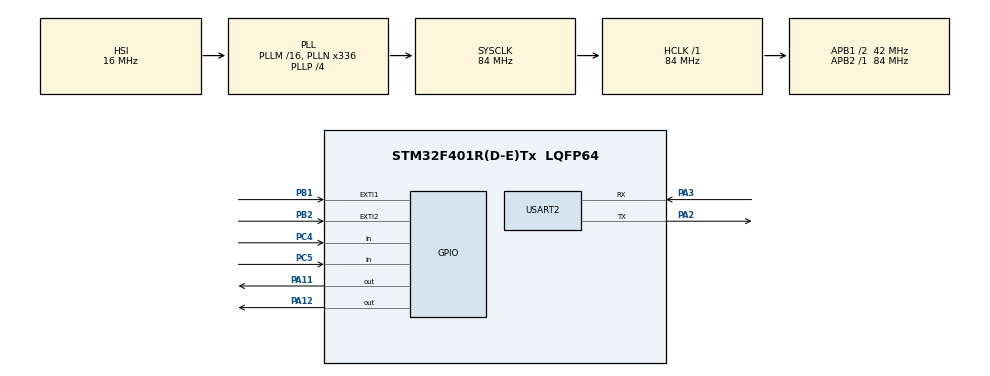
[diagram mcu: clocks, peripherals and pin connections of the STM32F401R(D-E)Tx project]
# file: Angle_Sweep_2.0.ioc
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Mcu.Family=STM32F4
Mcu.Name=STM32F401R(D-E)Tx
Mcu.Package=LQFP64
NVIC.EXTI1_IRQn=true\:0\:0\:false\:false\:true\:true\:true\:true
NVIC.EXTI2_IRQn=true\:0\:0\:false\:false\:true\:true\:true\:true
NVIC.PriorityGroup=NVIC_PRIORITYGROUP_0
NVIC.USART2_IRQn=true\:0\:0\:false\:false\:true\:true\:true\:true
PA11.Signal=GPIO_Output
PA12.Signal=GPIO_Output
PA2.Mode=Asynchronous
PA2.Signal=USART2_TX
PA3.Mode=Asynchronous
PA3.Signal=USART2_RX
PB1.GPIO_PuPd=GPIO_PULLUP
PB1.Signal=GPXTI1
PB2.GPIO_PuPd=GPIO_PULLUP
PB2.Signal=GPXTI2
PC4.GPIO_PuPd=GPIO_PULLDOWN
PC4.Signal=GPIO_Input
PC5.GPIO_PuPd=GPIO_PULLDOWN
PC5.Signal=GPIO_Input
ProjectManager.HeapSize=0x200
ProjectManager.StackSize=0x400
ProjectManager.TargetToolchain=STM32CubeIDE
RCC.48MHZClocksFreq_Value=48000000
RCC.AHBFreq_Value=84000000
RCC.APB1CLKDivider=RCC_HCLK_DIV2
RCC.APB1Freq_Value=42000000
RCC.APB1TimFreq_Value=84000000
RCC.APB2Freq_Value=84000000
RCC.APB2TimFreq_Value=84000000
RCC.CortexFreq_Value=84000000
RCC.HCLKFreq_Value=84000000
RCC.HSE_VALUE=8000000
RCC.HSI_VALUE=16000000
RCC.LSE_VALUE=32768
RCC.PLLN=336
RCC.PLLP=RCC_PLLP_DIV4
RCC.PLLQ=7
RCC.SYSCLKFreq_VALUE=84000000
RCC.SYSCLKSource=RCC_SYSCLKSOURCE_PLLCLK
RCC.VCOOutputFreq_Value=336000000
USART2.VirtualMode=VM_ASYNC
VP_RTC_VS_RTC_Activate.Mode=RTC_Enabled
VP_RTC_VS_RTC_Calendar.Mode=RTC_Calendar
board=NUCLEO-F401RE

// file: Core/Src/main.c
/* USER CODE BEGIN Header */
/**
  ******************************************************************************
  * @file           : main.c
  * @brief          : Main program body
  ******************************************************************************
  * @attention
  *
  * Copyright (c) 2022 STMicroelectronics.
  * All rights reserved.
  *
  * This software is licensed under terms that can be found in the LICENSE file
  * in the root directory of this software component.
  * If no LICENSE file comes with this software, it is provided AS-IS.
  *
  ******************************************************************************
  */
/* USER CODE END Header */
#include "main.h"

/* USER CODE BEGIN Includes */
#include "stdio.h"
#include <stdlib.h>
#include <string.h>
/* USER CODE END Includes */

RTC_HandleTypeDef hrtc;

UART_HandleTypeDef huart2;

/* USER CODE BEGIN PV */

//Variables comunicación UART
#define TAM_BUF 200
uint8_t tx_buff[TAM_BUF]; //Buffer de transmisión de datos
uint8_t rx_buff[TAM_BUF]; //Buffer de recibir datos
char *eptr; //Puntero para separación cadena

//Variables para guardado en memoria RAM
#define BKPSRAM_BASE 0x20017000 //Dirección del primer byte donde se va a almacenar la información
#define OFFSET 8                //Tamaño de un double (8 bytes)

/* USER CODE END PV */

void SystemClock_Config(void);
static void MX_GPIO_Init(void);
static void MX_USART2_UART_Init(void);
static void MX_RTC_Init(void);

/* USER CODE BEGIN 0 */

//Variables motor
static volatile uint16_t gLastError;

//Valores inicialización motores
L6474_Init_t gL6474InitParams =
{
    160,                               /// Acceleration rate in step/s2. Range: (0..+inf).
    160,                               /// Deceleration rate in step/s2. Range: (0..+inf).
    30,                              /// Maximum speed in step/s. Range: (30..10000].
    30,                               ///Minimum speed in step/s. Range: [30..10000).
    250,                               ///Torque regulation current in mA. (TVAL register) Range: 31.25mA to 4000mA.
    750,                               ///Overcurrent threshold (OCD_TH register). Range: 375mA to 6000mA.
    L6474_CONFIG_OC_SD_ENABLE,         ///Overcurrent shutwdown (OC_SD field of CONFIG register).
    L6474_CONFIG_EN_TQREG_TVAL_USED,   /// Torque regulation method (EN_TQREG field of CONFIG register).
	L6474_STEP_SEL_1,//L6474_STEP_SEL_1_16,               /// Step selection (STEP_SEL field of STEP_MODE register).
    L6474_SYNC_SEL_1_2,                /// Sync selection (SYNC_SEL field of STEP_MODE register).
    L6474_FAST_STEP_12us,              /// Fall time value (T_FAST field of T_FAST register). Range: 2us to 32us.
    L6474_TOFF_FAST_8us,               /// Maximum fast decay time (T_OFF field of T_FAST register). Range: 2us to 32us.
    3,                                 /// Minimum ON time in us (TON_MIN register). Range: 0.5us to 64us.
    21,                                /// Minimum OFF time in us (TOFF_MIN register). Range: 0.5us to 64us.
    L6474_CONFIG_TOFF_044us,           /// Target Swicthing Period (field TOFF of CONFIG register).
    L6474_CONFIG_SR_320V_us,           /// Slew rate (POW_SR field of CONFIG register).
    L6474_CONFIG_INT_16MHZ,            /// Clock setting (OSC_CLK_SEL field of CONFIG register).
    (L6474_ALARM_EN_OVERCURRENT      |
     L6474_ALARM_EN_THERMAL_SHUTDOWN |
     L6474_ALARM_EN_THERMAL_WARNING  |
     L6474_ALARM_EN_UNDERVOLTAGE     |
     L6474_ALARM_EN_SW_TURN_ON       |
     L6474_ALARM_EN_WRONG_NPERF_CMD)    /// Alarm (ALARM_EN register).
};

volatile int state = 0;
/*
 * 0: Pre-homing state
 * 1: Normal function
 * 2: Exception. FC1 interruption mode
 * 3: Exception. FC2 interruption mode
 * */
volatile int sweep = 1;
/*
 * 0: No sweep
 * 1: Sweep
 * */
volatile float angle = 0; //value of the angle the motor has to be at any time
volatile int step = 0;
/*
 * 0: No step
 * 1: Step
 * */

volatile int direction = 1;
/*
 * 1: Increment
 *-1: Decrement*/

//counter for the sweeping mode
volatile int counter = 0;

// Angle constants
float max_angle = 20; //max sweeping angle
float min_angle = -20; //min sweeping angle
float FC1_angle = -62;
float FC2_angle = 60;
float increment = 0.5;

// Time constants

int step_time = 100; //ms
int sweep_time = 20*1000; //ms (s*1000)

//Funciones
//Funciones control Shield
void ErrorHandler_Shield(uint16_t error);
void MyFlagInterruptHandler(void)
{
  /* Get the value of the status register via the L6474 command GET_STATUS */
  uint16_t statusRegister = BSP_MotorControl_CmdGetStatus(0);

  /* Check HIZ flag: if set, power brigdes are disabled */
  if ((statusRegister & L6474_STATUS_HIZ) == L6474_STATUS_HIZ)
  {
    // HIZ state
    // Action to be customized
  }

  /* Check direction bit */
  if ((statusRegister & L6474_STATUS_DIR) == L6474_STATUS_DIR)
  {
    // Forward direction is set
    // Action to be customized
  }
  else
  {
    // Backward direction is set
    // Action to be customized
  }

  /* Check NOTPERF_CMD flag: if set, the command received by SPI can't be performed */
  /* This often occures when a command is sent to the L6474 */
  /* while it is in HIZ state */
  if ((statusRegister & L6474_STATUS_NOTPERF_CMD) == L6474_STATUS_NOTPERF_CMD)
  {
      // Command received by SPI can't be performed
     // Action to be customized
  }

  /* Check WRONG_CMD flag: if set, the command does not exist */
  if ((statusRegister & L6474_STATUS_WRONG_CMD) == L6474_STATUS_WRONG_CMD)
  {
     //command received by SPI does not exist
     // Action to be customized
  }

  /* Check UVLO flag: if not set, there is an undervoltage lock-out */
  if ((statusRegister & L6474_STATUS_UVLO) == 0)
  {
     //undervoltage lock-out
     // Action to be customized
  }

  /* Check TH_WRN flag: if not set, the thermal warning threshold is reached */
  if ((statusRegister & L6474_STATUS_TH_WRN) == 0)
  {
    //thermal warning threshold is reached
    // Action to be customized
  }

  /* Check TH_SHD flag: if not set, the thermal shut down threshold is reached */
  if ((statusRegister & L6474_STATUS_TH_SD) == 0)
  {
    //thermal shut down threshold is reached
    // Action to be customized
  }

  /* Check OCD  flag: if not set, there is an overcurrent detection */
  if ((statusRegister & L6474_STATUS_OCD) == 0)
  {
    //overcurrent detection
    // Action to be customized
  }

}

//Interruptions callback
void HAL_GPIO_EXTI_Callback(uint16_t GPIO_Pin){

	if(GPIO_Pin == GPIO_PIN_2){ //Security FC
		BSP_MotorControl_HardStop(0);
		state = 2; //security problem state
	}
	else if(GPIO_Pin == GPIO_PIN_1){ //Calibration FC
		BSP_MotorControl_HardStop(0);
		state = 1; //calibration state
	}
	else if (GPIO_Pin == BSP_MOTOR_CONTROL_BOARD_FLAG_PIN) //Shield interrupt pin
	{
		BSP_MotorControl_FlagInterruptHandler();
	}
}

//Timer callback
void HAL_TIM_PeriodElapsedCallback(TIM_HandleTypeDef *htim){

	//Step timer
	if (htim == &htim3){
	  step = 1;
	  counter++;

	  if (counter >= (sweep_time / step_time)){
		  sweep = 1;
		  counter = 0;
	  }
	}

}

/* USER CODE END 0 */

int main(void)
{

  /* MCU Configuration--------------------------------------------------------*/

  /* Reset of all peripherals, Initializes the Flash interface and the Systick. */
  HAL_Init();

  /* Configure the system clock */
  SystemClock_Config();

  /* Initialize all configured peripherals */
  MX_GPIO_Init();
  MX_USART2_UART_Init();
  MX_RTC_Init();
  /* USER CODE BEGIN 2 */

  //Driver initialise parameters
  BSP_MotorControl_SetNbDevices(BSP_MOTOR_CONTROL_BOARD_ID_L6474, 1);         //Number of motors
  BSP_MotorControl_Init(BSP_MOTOR_CONTROL_BOARD_ID_L6474, &gL6474InitParams); //Initial parameters
  BSP_MotorControl_AttachFlagInterrupt(MyFlagInterruptHandler);               //Interrupt handler attach
  BSP_MotorControl_AttachErrorHandler(ErrorHandler_Shield);                   //Error handler attach

  state = 0;
  HAL_TIM_Base_Start_IT(&htim3);

  /* USER CODE END 2 */

  /* Infinite loop */
  while (1)
  {

  }
}

void SystemClock_Config(void)
{
  RCC_OscInitTypeDef RCC_OscInitStruct = {0};
  RCC_ClkInitTypeDef RCC_ClkInitStruct = {0};

  /** Configure the main internal regulator output voltage
  */
  __HAL_RCC_PWR_CLK_ENABLE();
  __HAL_PWR_VOLTAGESCALING_CONFIG(PWR_REGULATOR_VOLTAGE_SCALE2);

  /** Initializes the RCC Oscillators according to the specified parameters
  * in the RCC_OscInitTypeDef structure.
  */
  RCC_OscInitStruct.OscillatorType = RCC_OSCILLATORTYPE_HSI|RCC_OSCILLATORTYPE_LSI;
  RCC_OscInitStruct.HSIState = RCC_HSI_ON;
  RCC_OscInitStruct.HSICalibrationValue = RCC_HSICALIBRATION_DEFAULT;
  RCC_OscInitStruct.LSIState = RCC_LSI_ON;
  RCC_OscInitStruct.PLL.PLLState = RCC_PLL_ON;
  RCC_OscInitStruct.PLL.PLLSource = RCC_PLLSOURCE_HSI;
  RCC_OscInitStruct.PLL.PLLM = 16;
  RCC_OscInitStruct.PLL.PLLN = 336;
  RCC_OscInitStruct.PLL.PLLP = RCC_PLLP_DIV4;
  RCC_OscInitStruct.PLL.PLLQ = 7;
  if (HAL_RCC_OscConfig(&RCC_OscInitStruct) != HAL_OK)
  {
    Error_Handler();
  }

  /** Initializes the CPU, AHB and APB buses clocks
  */
  RCC_ClkInitStruct.ClockType = RCC_CLOCKTYPE_HCLK|RCC_CLOCKTYPE_SYSCLK
                              |RCC_CLOCKTYPE_PCLK1|RCC_CLOCKTYPE_PCLK2;
  RCC_ClkInitStruct.SYSCLKSource = RCC_SYSCLKSOURCE_PLLCLK;
  RCC_ClkInitStruct.AHBCLKDivider = RCC_SYSCLK_DIV1;
  RCC_ClkInitStruct.APB1CLKDivider = RCC_HCLK_DIV2;
  RCC_ClkInitStruct.APB2CLKDivider = RCC_HCLK_DIV1;

  if (HAL_RCC_ClockConfig(&RCC_ClkInitStruct, FLASH_LATENCY_2) != HAL_OK)
  {
    Error_Handler();
  }
}

static void MX_RTC_Init(void)
{

  RTC_TimeTypeDef sTime = {0};
  RTC_DateTypeDef sDate = {0};

  /** Initialize RTC Only
  */
  hrtc.Instance = RTC;
  hrtc.Init.HourFormat = RTC_HOURFORMAT_24;
  hrtc.Init.AsynchPrediv = 127;
  hrtc.Init.SynchPrediv = 255;
  hrtc.Init.OutPut = RTC_OUTPUT_DISABLE;
  hrtc.Init.OutPutPolarity = RTC_OUTPUT_POLARITY_HIGH;
  hrtc.Init.OutPutType = RTC_OUTPUT_TYPE_OPENDRAIN;
  if (HAL_RTC_Init(&hrtc) != HAL_OK)
  {
    Error_Handler();
  }

  /** Initialize RTC and set the Time and Date
  */
  sTime.Hours = 0x0;
  sTime.Minutes = 0x0;
  sTime.Seconds = 0x0;
  sTime.DayLightSaving = RTC_DAYLIGHTSAVING_NONE;
  sTime.StoreOperation = RTC_STOREOPERATION_RESET;
  if (HAL_RTC_SetTime(&hrtc, &sTime, RTC_FORMAT_BCD) != HAL_OK)
  {
    Error_Handler();
  }
  sDate.WeekDay = RTC_WEEKDAY_MONDAY;
  sDate.Month = RTC_MONTH_JANUARY;
  sDate.Date = 0x1;
  sDate.Year = 0x0;

  if (HAL_RTC_SetDate(&hrtc, &sDate, RTC_FORMAT_BCD) != HAL_OK)
  {
    Error_Handler();
  }

}

static void MX_USART2_UART_Init(void)
{

  huart2.Instance = USART2;
  huart2.Init.BaudRate = 115200;
  huart2.Init.WordLength = UART_WORDLENGTH_8B;
  huart2.Init.StopBits = UART_STOPBITS_1;
  huart2.Init.Parity = UART_PARITY_NONE;
  huart2.Init.Mode = UART_MODE_TX_RX;
  huart2.Init.HwFlowCtl = UART_HWCONTROL_NONE;
  huart2.Init.OverSampling = UART_OVERSAMPLING_16;
  if (HAL_UART_Init(&huart2) != HAL_OK)
  {
    Error_Handler();
  }

}

static void MX_GPIO_Init(void)
{
  GPIO_InitTypeDef GPIO_InitStruct = {0};

  /* GPIO Ports Clock Enable */
  __HAL_RCC_GPIOA_CLK_ENABLE();
  __HAL_RCC_GPIOC_CLK_ENABLE();
  __HAL_RCC_GPIOB_CLK_ENABLE();

  /*Configure GPIO pin Output Level */
  HAL_GPIO_WritePin(GPIOA, GPIO_PIN_11|GPIO_PIN_12, GPIO_PIN_RESET);

  /*Configure GPIO pins : PC4 PC5 */
  GPIO_InitStruct.Pin = GPIO_PIN_4|GPIO_PIN_5;
  GPIO_InitStruct.Mode = GPIO_MODE_INPUT;
  GPIO_InitStruct.Pull = GPIO_PULLDOWN;
  HAL_GPIO_Init(GPIOC, &GPIO_InitStruct);

  /*Configure GPIO pins : PB1 PB2 */
  GPIO_InitStruct.Pin = GPIO_PIN_1|GPIO_PIN_2;
  GPIO_InitStruct.Mode = GPIO_MODE_IT_RISING;
  GPIO_InitStruct.Pull = GPIO_PULLUP;
  HAL_GPIO_Init(GPIOB, &GPIO_InitStruct);

  /*Configure GPIO pins : PA11 PA12 */
  GPIO_InitStruct.Pin = GPIO_PIN_11|GPIO_PIN_12;
  GPIO_InitStruct.Mode = GPIO_MODE_OUTPUT_PP;
  GPIO_InitStruct.Pull = GPIO_NOPULL;
  GPIO_InitStruct.Speed = GPIO_SPEED_FREQ_LOW;
  HAL_GPIO_Init(GPIOA, &GPIO_InitStruct);

  /* EXTI interrupt init*/
  HAL_NVIC_SetPriority(EXTI1_IRQn, 0, 0);
  HAL_NVIC_EnableIRQ(EXTI1_IRQn);

  HAL_NVIC_SetPriority(EXTI2_IRQn, 0, 0);
  HAL_NVIC_EnableIRQ(EXTI2_IRQn);

}

/* USER CODE BEGIN 4 */
int _write(int file, char *ptr, int len){
	int DataIdx;

	for(DataIdx = 0; DataIdx < len; DataIdx++){
		ITM_SendChar(*ptr++);
	}
	return len;
}

void ErrorHandler_Shield(uint16_t error)
{
  /* Backup error number */
  gLastError = error;

  /* Infinite loop */
  while(1)
  {
  }
}

/* USER CODE END 4 */

void Error_Handler(void)
{
  __disable_irq();
  while (1)
  {
  }
}
